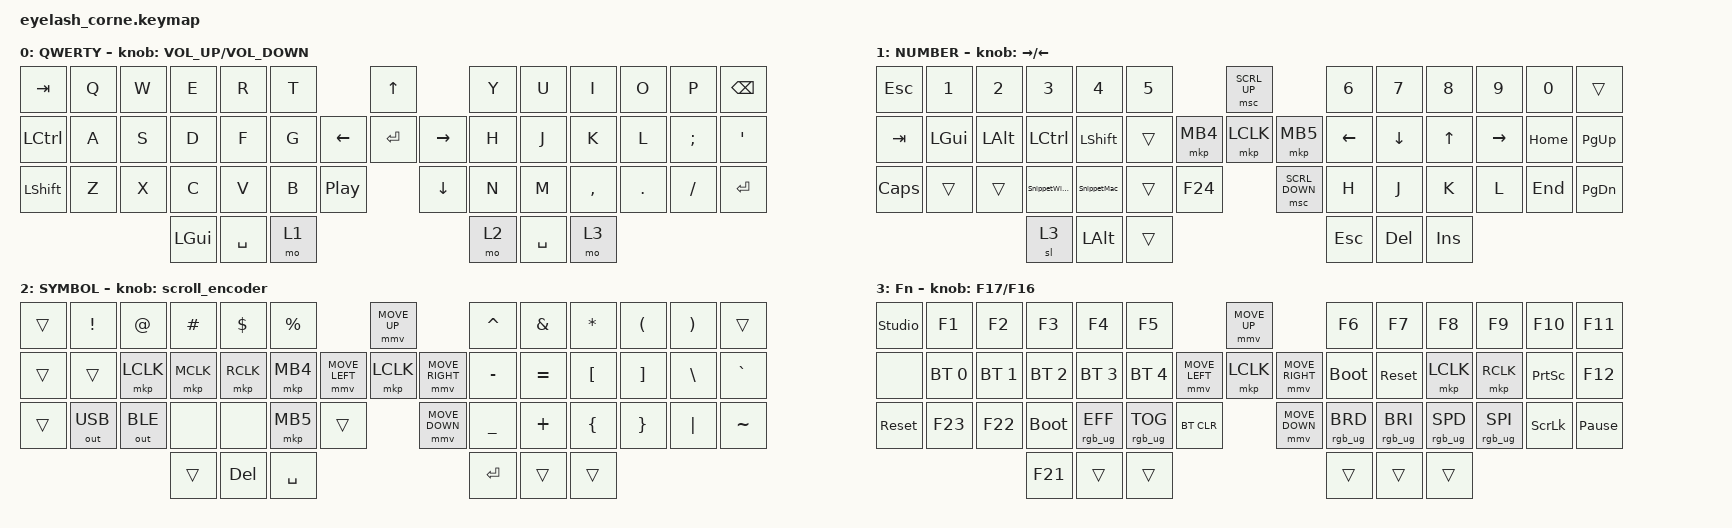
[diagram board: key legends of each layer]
#include <dt-bindings/zmk/mouse.h>
#include <input/processors.dtsi>
#include <behaviors.dtsi>
#include <dt-bindings/zmk/bt.h>
#include <dt-bindings/zmk/keys.h>
#include <dt-bindings/zmk/outputs.h>
#include <dt-bindings/zmk/pointing.h>
#include <dt-bindings/zmk/rgb.h>

/*

   &mmv_input_listener {
       input-processors = <&zip_xy_scaler 2 1>;
   };

   &msc_input_listener {
       input-processors = <&zip_xy_scaler 2 1>;
   };

 */

#define ZMK_POINTING_DEFAULT_MOVE_VAL 2400  // 600
#define ZMK_POINTING_DEFAULT_SCRL_VAL 20    // 10

/ {
    behaviors {
        td0: td0 {
            compatible = "zmk,behavior-tap-dance";
            display-name = "Shift/Caps Lock Tap Dance";
            #binding-cells = <0>;
            bindings = <&kp LEFT_SHIFT>, <&kp CAPS>;
        };
    };

    rgb_encoder: rgb_encoder {
        compatible = "zmk,behavior-sensor-rotate";
        #sensor-binding-cells = <0>;
        bindings = <&rgb_ug RGB_BRI>, <&rgb_ug RGB_BRD>;
    };

    scroll_encoder: scroll_encoder {
        compatible = "zmk,behavior-sensor-rotate";
        #sensor-binding-cells = <0>;
        bindings = <&msc SCRL_DOWN>, <&msc SCRL_UP>;

        tap-ms = <30>;
    };

    macros {
        SnippetWindows: SnippetWindows {
            compatible = "zmk,behavior-macro";
            #binding-cells = <0>;
            bindings = <&kp LG(LS(S))>;
            label = "SNIPPETWINDOWS";
        };

        SnippetMac: SnippetMac {
            compatible = "zmk,behavior-macro";
            #binding-cells = <0>;
            bindings = <&kp LC(LS(LG(NUMBER_4)))>;
            label = "SNIPPETMAC";
        };
    };

    keymap {
        compatible = "zmk,keymap";

        default_layer {
            display-name = "QWERTY";
            bindings = <
&kp TAB           &kp Q  &kp W  &kp E     &kp R      &kp T                                &kp UP                &kp Y  &kp U      &kp I      &kp O    &kp P     &kp BSPC
&kp LEFT_CONTROL  &kp A  &kp S  &kp D     &kp F      &kp G                      &kp LEFT  &kp ENTER  &kp RIGHT  &kp H  &kp J      &kp K      &kp L    &kp SEMI  &kp SQT
&kp LEFT_SHIFT    &kp Z  &kp X  &kp C     &kp V      &kp B  &kp C_PLAY_PAUSE              &kp DOWN              &kp N  &kp M      &kp COMMA  &kp DOT  &kp FSLH  &kp ENTER
                                &kp LGUI  &kp SPACE  &mo 1                                                      &mo 2  &kp SPACE  &mo 3
            >;

            sensor-bindings = <&inc_dec_kp C_VOLUME_UP C_VOLUME_DOWN>;
        };

        lower_layer {
            display-name = "NUMBER";
            bindings = <
&kp ESCAPE    &kp N1        &kp N2    &kp N3           &kp N4          &kp N5                       &msc SCRL_UP              &kp N6          &kp N7          &kp N8        &kp N9           &kp N0    &trans
&kp TAB       &kp LEFT_GUI  &kp LALT  &kp LCTRL        &kp LEFT_SHIFT  &trans             &mkp MB4  &mkp LCLK       &mkp MB5  &kp LEFT_ARROW  &kp DOWN_ARROW  &kp UP_ARROW  &kp RIGHT_ARROW  &kp HOME  &kp PG_UP
&kp CAPSLOCK  &trans        &trans    &SnippetWindows  &SnippetMac     &trans  &kp F24              &msc SCRL_DOWN            &kp H           &kp J           &kp K         &kp L            &kp END   &kp PG_DN
                                      &sl 3            &kp LEFT_ALT    &trans                                                 &kp ESCAPE      &kp DEL         &kp INSERT
            >;

            sensor-bindings = <&inc_dec_kp RIGHT LEFT>;
        };

        raise_layer {
            display-name = "SYMBOL";
            bindings = <
&trans  &kp EXCL      &kp AT        &kp HASH   &kp DLLR    &kp PRCNT                            &mmv MOVE_UP                     &kp CARET  &kp AMPS   &kp ASTRK  &kp LPAR  &kp RPAR  &trans
&trans  &trans        &mkp LCLK     &mkp MCLK  &mkp RCLK   &mkp MB4             &mmv MOVE_LEFT  &mkp LCLK       &mmv MOVE_RIGHT  &kp MINUS  &kp EQUAL  &kp LBKT   &kp RBKT  &kp BSLH  &kp GRAVE
&trans  &out OUT_USB  &out OUT_BLE  &none      &none       &mkp MB5   &trans                    &mmv MOVE_DOWN                   &kp UNDER  &kp PLUS   &kp LBRC   &kp RBRC  &kp PIPE  &kp TILDE
                                    &trans     &kp DELETE  &kp SPACE                                                             &kp RET    &trans     &trans
            >;

            sensor-bindings = <&scroll_encoder>;
        };

        layer_3 {
            display-name = "Fn";
            bindings = <
&studio_unlock  &kp F1        &kp F2        &kp F3        &kp F4           &kp F5                                         &mmv MOVE_UP                     &kp F6           &kp F7           &kp F8           &kp F9           &kp F10          &kp F11
&none           &bt BT_SEL 0  &bt BT_SEL 1  &bt BT_SEL 2  &bt BT_SEL 3     &bt BT_SEL 4                   &mmv MOVE_LEFT  &mkp LCLK       &mmv MOVE_RIGHT  &bootloader      &sys_reset       &mkp LCLK        &mkp RCLK        &kp PRINTSCREEN  &kp F12
&sys_reset      &kp F23       &kp F22       &bootloader   &rgb_ug RGB_EFF  &rgb_ug RGB_TOG  &bt BT_CLR                    &mmv MOVE_DOWN                   &rgb_ug RGB_BRD  &rgb_ug RGB_BRI  &rgb_ug RGB_SPD  &rgb_ug RGB_SPI  &kp SCROLLLOCK   &kp PAUSE_BREAK
                                            &kp F21       &trans           &trans                                                                          &trans           &trans           &trans
            >;

            sensor-bindings = <&inc_dec_kp F17 F16>;
        };
    };
};
